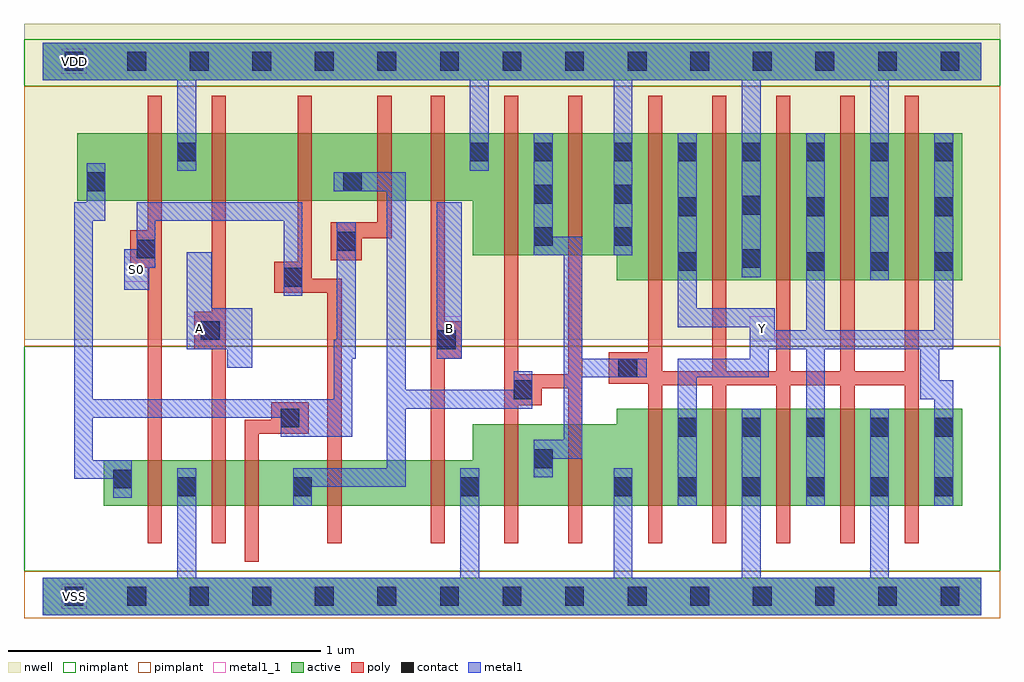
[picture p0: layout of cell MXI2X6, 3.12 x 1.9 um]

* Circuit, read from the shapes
.subckt MXI2X6 A B S0 VDD VSS Y
M1 VSS S0 n1 VSS nfet w=0.145u l=0.045u
M2 n2 A VSS VSS nfet w=0.145u l=0.045u
M3 n3 n1 n2 VSS nfet w=0.145u l=0.045u
M4 n4 S0 n3 VSS nfet w=0.145u l=0.045u
M5 VSS B n4 VSS nfet w=0.145u l=0.045u
M6 n5 n3 VSS VSS nfet w=0.26u l=0.045u m=2
M7 Y n5 VSS VSS nfet w=0.31u l=0.045u m=5
M8 VDD S0 n1 VDD pfet w=0.215u l=0.045u
M9 n6 A VDD VDD pfet w=0.215u l=0.045u
M10 n3 S0 n6 VDD pfet w=0.215u l=0.045u
M11 n7 n1 n3 VDD pfet w=0.215u l=0.045u
M12 VDD B n7 VDD pfet w=0.215u l=0.045u
M13 n5 n3 VDD VDD pfet w=0.39u l=0.045u m=2
M14 Y n5 VDD VDD pfet w=0.47u l=0.045u m=5
.ends

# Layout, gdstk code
import gdstk
lib = gdstk.Library(unit=1e-6, precision=5e-10)
def R(c, l, rs):  # rectangles x0, y0, x1, y1
    for r in rs: c.add(gdstk.rectangle(r[:2], r[2:], *l))
def A(c, l, x, y, w, h, nx, ny, dx, dy):  # array of equal rectangles
    R(c, l, [(x+i*dx, y+j*dy, x+i*dx+w, y+j*dy+h) for i in range(nx) for j in range(ny)])
def P(c, l, *ps):  # polygons
    for p in ps: c.add(gdstk.Polygon(p, *l))
active = (1, 0)
nwell = (2, 0)
poly = (3, 0)
nimplant = (4, 0)
pimplant = (5, 0)
contact = (6, 0)
metal1 = (7, 0)
metal1_1 = (7, 1)

mxi2x6 = lib.new_cell('MXI2X6')
R(mxi2x6, active, [(0,-0.06,3,0.06), (0,1.65,3,1.77)])
P(mxi2x6, active, [(0.11,1.48),(2.94,1.48),(2.94,1.01),(1.835,1.01),(1.835,1.09),(1.375,1.09),(1.375,1.265),(0.11,1.265)],
  [(1.835,0.6),(2.94,0.6),(2.94,0.29),(0.195,0.29),(0.195,0.435),(1.375,0.435),(1.375,0.55),(1.835,0.55)])
R(mxi2x6, nwell, [(-0.06,0.82,3.06,1.83)])
P(mxi2x6, poly, [(0.335,1.6),(0.38,1.6),(0.38,0.17),(0.335,0.17),(0.335,1.05),(0.28,1.05),(0.28,1.17),(0.335,1.17)],
  [(0.54,1.6),(0.585,1.6),(0.585,0.17),(0.54,0.17),(0.54,0.79),(0.485,0.79),(0.485,0.91),(0.54,0.91)],
  [(0.815,1.6),(0.86,1.6),(0.86,1.015),(0.955,1.015),(0.955,0.17),(0.91,0.17),(0.91,0.97),(0.74,0.97),(0.74,1.07),(0.815,1.07)],
  [(1.07,1.6),(1.115,1.6),(1.115,1.145),(1.02,1.145),(1.02,1.075),(0.92,1.075),(0.92,1.195),(1.07,1.195)],
  [(1.24,1.6),(1.285,1.6),(1.285,0.88),(1.34,0.88),(1.34,0.76),(1.285,0.76),(1.285,0.17),(1.24,0.17)],
  [(1.475,1.6),(1.52,1.6),(1.52,0.71),(1.68,0.71),(1.68,1.6),(1.725,1.6),(1.725,0.17),(1.68,0.17),(1.68,0.665),(1.595,0.665),(1.595,0.61),(1.52,0.61),(1.52,0.17),(1.475,0.17)],
  [(1.935,1.6),(1.98,1.6),(1.98,0.72),(2.14,0.72),(2.14,1.6),(2.185,1.6),(2.185,0.72),(2.345,0.72),(2.345,1.6),(2.39,1.6),(2.39,0.72),(2.55,0.72),(2.55,1.6),(2.595,1.6),(2.595,0.72),(2.755,0.72),(2.755,1.6),(2.8,1.6),(2.8,0.17),(2.755,0.17),(2.755,0.675),(2.595,0.675),(2.595,0.17),(2.55,0.17),(2.55,0.675),(2.39,0.675),(2.39,0.17),(2.345,0.17),(2.345,0.675),(2.185,0.675),(2.185,0.17),(2.14,0.17),(2.14,0.675),(1.98,0.675),(1.98,0.17),(1.935,0.17),(1.935,0.68),(1.81,0.68),(1.81,0.78),(1.935,0.78)],
  [(0.73,0.62),(0.85,0.62),(0.85,0.52),(0.69,0.52),(0.69,0.11),(0.645,0.11),(0.645,0.565),(0.73,0.565)])
R(mxi2x6, nimplant, [(-0.06,0.08,3.06,0.8), (-0.06,1.63,3.06,1.78)])
R(mxi2x6, pimplant, [(-0.06,-0.07,3.06,0.08), (-0.06,0.8,3.06,1.63)])
A(mxi2x6, contact, 0.07, -0.03, 0.06, 0.06, 15, 2, 0.2, 1.71)
A(mxi2x6, contact, 1.825, 0.32, 0.06, 0.06, 6, 2, 0.205, 1.07)
A(mxi2x6, contact, 2.03, 0.51, 0.06, 0.06, 5, 1, 0.205, 0)
A(mxi2x6, contact, 2.44, 1.04, 0.06, 0.06, 3, 2, 0.205, 0.175)
A(mxi2x6, contact, 1.57, 1.12, 0.06, 0.06, 1, 3, 0, 0.135)
R(mxi2x6, contact, [(0.43,0.32,0.49,0.38), (0.8,0.32,0.86,0.38), (1.335,0.32,1.395,0.38), (0.225,0.345,0.285,0.405), (1.57,0.41,1.63,0.47), (0.76,0.54,0.82,0.6), (1.505,0.63,1.565,0.69), (1.84,0.7,1.9,0.76), (1.26,0.79,1.32,0.85), (0.505,0.82,0.565,0.88), (0.77,0.99,0.83,1.05), (2.03,1.04,2.09,1.1), (2.235,1.05,2.295,1.11), (0.3,1.08,0.36,1.14), (0.94,1.105,1,1.165), (1.825,1.12,1.885,1.18), (2.03,1.215,2.09,1.275), (2.235,1.22,2.295,1.28), (1.825,1.255,1.885,1.315), (0.14,1.295,0.2,1.355), (0.96,1.295,1.02,1.355), (0.43,1.39,0.49,1.45), (1.365,1.39,1.425,1.45)])
R(mxi2x6, metal1, [(1.26,0.76,1.34,1.26)])
P(mxi2x6, metal1, [(0,1.77),(3,1.77),(3,1.65),(2.705,1.65),(2.705,1.01),(2.645,1.01),(2.645,1.65),(2.295,1.65),(2.295,1.02),(2.235,1.02),(2.235,1.65),(1.885,1.65),(1.885,1.09),(1.825,1.09),(1.825,1.65),(1.425,1.65),(1.425,1.36),(1.365,1.36),(1.365,1.65),(0.49,1.65),(0.49,1.36),(0.43,1.36),(0.43,1.65),(0,1.65)],
  [(0.14,1.385),(0.2,1.385),(0.2,1.2),(0.16,1.2),(0.16,0.63),(0.93,0.63),(0.93,0.82),(0.94,0.82),(0.94,1.195),(1,1.195),(1,0.76),(0.99,0.76),(0.99,0.51),(0.76,0.51),(0.76,0.57),(0.16,0.57),(0.16,0.435),(0.285,0.435),(0.285,0.315),(0.225,0.315),(0.225,0.375),(0.1,0.375),(0.1,1.26),(0.14,1.26)],
  [(0.93,1.355),(1.16,1.355),(1.16,0.66),(1.505,0.66),(1.505,0.72),(1.565,0.72),(1.565,0.6),(1.16,0.6),(1.16,0.35),(0.86,0.35),(0.86,0.29),(0.8,0.29),(0.8,0.41),(1.1,0.41),(1.1,1.295),(0.93,1.295)],
  [(0.3,1.26),(0.83,1.26),(0.83,0.96),(0.77,0.96),(0.77,1.2),(0.36,1.2),(0.36,1.05),(0.34,1.05),(0.34,0.98),(0.26,0.98),(0.26,1.11),(0.3,1.11)],
  [(0.46,1.1),(0.54,1.1),(0.54,0.92),(0.67,0.92),(0.67,0.73),(0.59,0.73),(0.59,0.79),(0.46,0.79)],
  [(1.57,1.48),(1.63,1.48),(1.63,1.15),(1.725,1.15),(1.725,0.76),(1.93,0.76),(1.93,0.7),(1.725,0.7),(1.725,0.44),(1.63,0.44),(1.63,0.38),(1.57,0.38),(1.57,0.5),(1.665,0.5),(1.665,1.09),(1.57,1.09)],
  [(2.03,1.48),(2.09,1.48),(2.09,0.92),(2.34,0.92),(2.34,0.85),(2.44,0.85),(2.44,1.48),(2.5,1.48),(2.5,0.85),(2.85,0.85),(2.85,1.48),(2.91,1.48),(2.91,0.79),(2.865,0.79),(2.865,0.69),(2.91,0.69),(2.91,0.29),(2.85,0.29),(2.85,0.63),(2.805,0.63),(2.805,0.79),(2.5,0.79),(2.5,0.29),(2.44,0.29),(2.44,0.79),(2.32,0.79),(2.32,0.7),(2.09,0.7),(2.09,0.29),(2.03,0.29),(2.03,0.76),(2.26,0.76),(2.26,0.86),(2.03,0.86)],
  [(0.43,0.41),(0.49,0.41),(0.49,0.06),(1.335,0.06),(1.335,0.41),(1.395,0.41),(1.395,0.06),(1.825,0.06),(1.825,0.41),(1.885,0.41),(1.885,0.06),(2.235,0.06),(2.235,0.6),(2.295,0.6),(2.295,0.06),(2.645,0.06),(2.645,0.6),(2.705,0.6),(2.705,0.06),(3,0.06),(3,-0.06),(0,-0.06),(0,0.06),(0.43,0.06)])
R(mxi2x6, metal1_1, [(0.06,-0.04,0.14,0.04), (0.46,0.815,0.54,0.895), (1.26,0.815,1.34,0.895), (2.26,0.815,2.34,0.895), (0.26,1.005,0.34,1.085), (0.06,1.67,0.14,1.75)])
mxi2x6.add(gdstk.Label('Y', (2.3,0.855), layer=7, texttype=1))
mxi2x6.add(gdstk.Label('B', (1.3,0.855), layer=7, texttype=1))
mxi2x6.add(gdstk.Label('A', (0.5,0.855), layer=7, texttype=1))
mxi2x6.add(gdstk.Label('S0', (0.3,1.045), layer=7, texttype=1))
mxi2x6.add(gdstk.Label('VDD', (0.1,1.71), layer=7, texttype=1))
mxi2x6.add(gdstk.Label('VSS', (0.1,0), layer=7, texttype=1))
mxi2x6.add(gdstk.Label('MXI2X6', (0,0), layer=63, texttype=0))

lib.write_gds('MXI2X6.gds')
